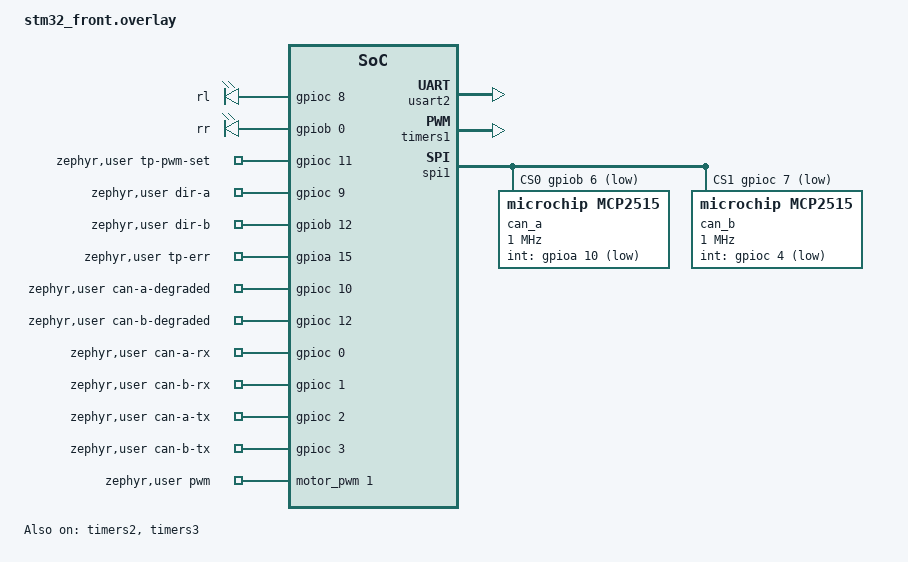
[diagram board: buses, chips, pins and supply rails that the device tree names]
/*
 * STM32 back (drivetrain zone) on nucleo_f401re.
 *
 * CAN SPI and chip-select pins match the front board. PA13/PA14 are reserved
 * for SWD. RL/RR use PC8/PB0 and avoid the error indicator on PA15. PA8
 * provides the shared motor PWM signal for both H-bridges.
 */
/ {
	aliases {
		can-a = &can_a;
		can-b = &can_b;
	};

	rear_lights {
		compatible = "gpio-leds";
		rl: rl { gpios = <&gpioc 8 GPIO_ACTIVE_HIGH>; };   /* PC8 */
		rr: rr { gpios = <&gpiob 0 GPIO_ACTIVE_HIGH>; };   /* PB0 */
	};

	zephyr,user {
		pwms = <&motor_pwm 1 PWM_USEC(100) PWM_POLARITY_NORMAL>;

		tp-pwm-set-gpios = <&gpioc 11 GPIO_ACTIVE_HIGH>;    /* PC11 */
		dir-a-gpios = <&gpioc 9 GPIO_ACTIVE_HIGH>;          /* PC9 */
		dir-b-gpios = <&gpiob 12 GPIO_ACTIVE_HIGH>;         /* PB12 */
		tp-err-gpios = <&gpioa 15 GPIO_ACTIVE_HIGH>;        /* PA15 */
		can-a-degraded-gpios = <&gpioc 10 GPIO_ACTIVE_HIGH>; /* PC10 */
		can-b-degraded-gpios = <&gpioc 12 GPIO_ACTIVE_HIGH>; /* PC12 */
		can-a-rx-gpios = <&gpioc 0 GPIO_ACTIVE_HIGH>;        /* PC0 */
		can-b-rx-gpios = <&gpioc 1 GPIO_ACTIVE_HIGH>;        /* PC1 */
		can-a-tx-gpios = <&gpioc 2 GPIO_ACTIVE_HIGH>;        /* PC2 */
		can-b-tx-gpios = <&gpioc 3 GPIO_ACTIVE_HIGH>;        /* PC3 */
	};
};

/* Free the pins used for encoder feedback and motor PWM. */
&i2c3 { status = "disabled"; };
&i2c1 { status = "disabled"; };
&usart1 { status = "disabled"; };
&adc1 { status = "disabled"; };
&pwm2 { status = "disabled"; };
&usart2 { status = "okay"; };

/* Left encoder on PA0/PA1. */
&timers2 {
	status = "okay";

	enc_left: qdec {
		pinctrl-0 = <&tim2_ch1_pa0 &tim2_ch2_pa1>;
		pinctrl-names = "default";
		st,encoder-mode = <0x3>;
		st,input-filter-level = <10>;
		st,counts-per-revolution = <1>;
		status = "okay";
	};
};

/* Right encoder on PB4/PB5. CAN B interrupt is moved to PC4 to free PB5. */
&timers3 {
	status = "okay";

	enc_right: qdec {
		pinctrl-0 = <&tim3_ch1_pb4 &tim3_ch2_pb5>;
		pinctrl-names = "default";
		st,encoder-mode = <0x3>;
		st,input-filter-level = <10>;
		st,counts-per-revolution = <1>;
		status = "okay";
	};
};

&tim2_ch1_pa0 { bias-pull-up; };
&tim2_ch2_pa1 { bias-pull-up; };
&tim3_ch1_pb4 { bias-pull-up; };
&tim3_ch2_pb5 { bias-pull-up; };

/* TIM1_CH1/PA8 is the shared 10 kHz motor PWM output. */
&timers1 {
	status = "okay";
	st,prescaler = <83>;

	motor_pwm: pwm {
		pinctrl-0 = <&tim1_ch1_pa8>;
		pinctrl-names = "default";
		status = "okay";
	};
};

&spi1 {
	status = "okay";
	cs-gpios = <&gpiob 6 (GPIO_ACTIVE_LOW | GPIO_PULL_UP)>,
		   <&gpioc 7 (GPIO_ACTIVE_LOW | GPIO_PULL_UP)>;

	can_a: mcp2515@0 {
		compatible = "microchip,mcp2515";
		reg = <0>;
		spi-max-frequency = <1000000>;
		int-gpios = <&gpioa 10 GPIO_ACTIVE_LOW>;  /* D2 */
		osc-freq = <16000000>;
		bitrate = <500000>;
		status = "okay";
	};

	can_b: mcp2515@1 {
		compatible = "microchip,mcp2515";
		reg = <1>;
		spi-max-frequency = <1000000>;
		int-gpios = <&gpioc 4 GPIO_ACTIVE_LOW>;    /* PC4 */
		osc-freq = <16000000>;
		bitrate = <500000>;
		status = "okay";
	};
};
